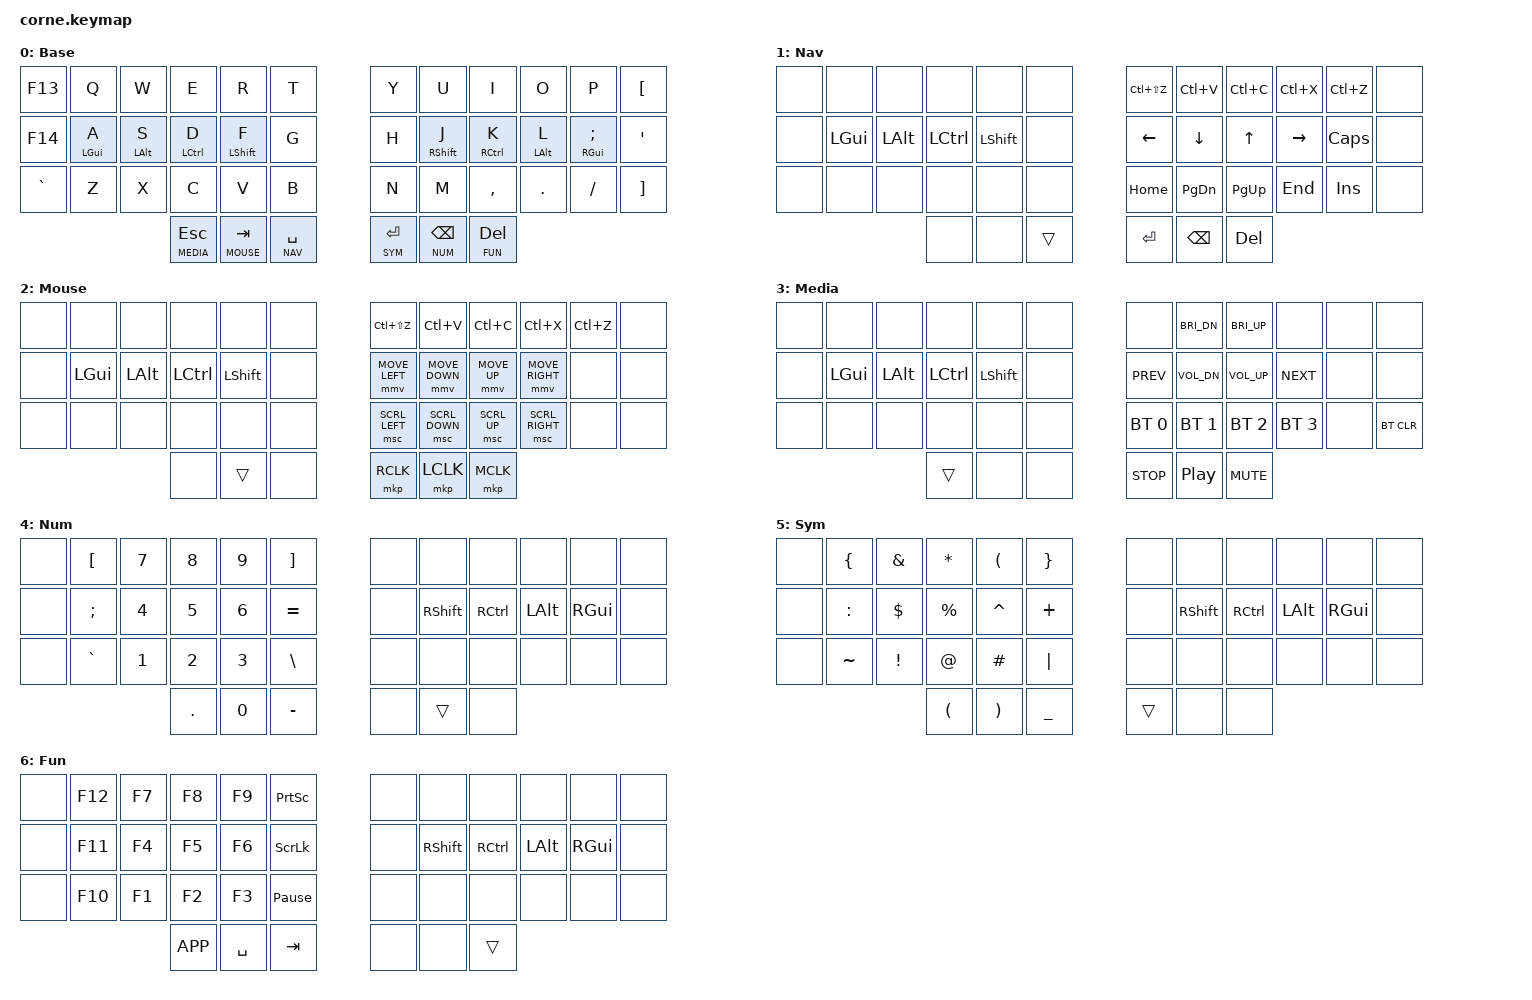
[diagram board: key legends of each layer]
/*
 * Corne 3x6+3. Основа — Miryoku (слой на каждой клавише большого пальца,
 * слой включается одной рукой, работает другая) и timeless HRM от urob.
 * Под себя: внешние колонки под ЙЦУКЕН (Х Э Ъ Ё) и клавиши EN/RU.
 *
 * Позиции:
 *   0  1  2  3  4  5     6  7  8  9 10 11
 *  12 13 14 15 16 17    18 19 20 21 22 23
 *  24 25 26 27 28 29    30 31 32 33 34 35
 *           36 37 38    39 40 41
 */

#include <behaviors.dtsi>
#include <dt-bindings/zmk/bt.h>
#include <dt-bindings/zmk/keys.h>
#include <dt-bindings/zmk/pointing.h>

#define BASE  0
#define NAV   1
#define MOUSE 2
#define MEDIA 3
#define NUM   4
#define SYM   5
#define FUN   6

#define KEYS_L 0 1 2 3 4 5 12 13 14 15 16 17 24 25 26 27 28 29
#define KEYS_R 6 7 8 9 10 11 18 19 20 21 22 23 30 31 32 33 34 35
#define THUMBS 36 37 38 39 40 41

// Переключение языка: niri ловит F13/F14 и делает switch-layout 0/1
#define LANG_EN &kp F13
#define LANG_RU &kp F14

#define U_UNDO &kp LC(Z)
#define U_CUT  &kp LC(X)
#define U_COPY &kp LC(C)
#define U_PSTE &kp LC(V)
#define U_REDO &kp LC(LS(Z))

// Повтор Backspace/Space при удержании: тап, затем удержание
&lt {
    quick-tap-ms = <175>;
};

/ {
    behaviors {
        hml: home_row_mod_left {
            compatible = "zmk,behavior-hold-tap";
            #binding-cells = <2>;
            flavor = "balanced";
            tapping-term-ms = <280>;
            quick-tap-ms = <175>;
            require-prior-idle-ms = <150>;
            bindings = <&kp>, <&kp>;
            hold-trigger-key-positions = <KEYS_R THUMBS>;
            hold-trigger-on-release;
        };

        hmr: home_row_mod_right {
            compatible = "zmk,behavior-hold-tap";
            #binding-cells = <2>;
            flavor = "balanced";
            tapping-term-ms = <280>;
            quick-tap-ms = <175>;
            require-prior-idle-ms = <150>;
            bindings = <&kp>, <&kp>;
            hold-trigger-key-positions = <KEYS_L THUMBS>;
            hold-trigger-on-release;
        };
    };

    combos {
        compatible = "zmk,combos";

        combo_caps_word {
            timeout-ms = <50>;
            key-positions = <16 19>;
            bindings = <&caps_word>;
            layers = <BASE>;
        };
    };

    keymap {
        compatible = "zmk,keymap";

        base {
            display-name = "Base";
            bindings = <
LANG_EN   &kp Q          &kp W          &kp E           &kp R           &kp T        &kp Y  &kp U           &kp I           &kp O          &kp P             &kp LBKT
LANG_RU   &hml LGUI A    &hml LALT S    &hml LCTRL D    &hml LSHFT F    &kp G        &kp H  &hmr RSHFT J    &hmr RCTRL K    &hmr LALT L    &hmr RGUI SEMI    &kp SQT
&kp GRAVE &kp Z          &kp X          &kp C           &kp V           &kp B        &kp N  &kp M           &kp COMMA       &kp DOT        &kp FSLH          &kp RBKT
                         &lt MEDIA ESC  &lt MOUSE TAB   &lt NAV SPACE                &lt SYM RET    &lt NUM BSPC    &lt FUN DEL
            >;
        };

        nav {
            display-name = "Nav";
            bindings = <
&none  &none     &none     &none      &none      &none        U_REDO    U_PSTE      U_COPY      U_CUT     U_UNDO     &none
&none  &kp LGUI  &kp LALT  &kp LCTRL  &kp LSHFT  &none        &kp LEFT  &kp DOWN    &kp UP      &kp RIGHT &kp CAPS   &none
&none  &none     &none     &none      &none      &none        &kp HOME  &kp PG_DN   &kp PG_UP   &kp END   &kp INS    &none
                           &none      &none      &trans       &kp RET   &kp BSPC    &kp DEL
            >;
        };

        mouse {
            display-name = "Mouse";
            bindings = <
&none  &none     &none     &none      &none      &none        U_REDO          U_PSTE          U_COPY          U_CUT            U_UNDO  &none
&none  &kp LGUI  &kp LALT  &kp LCTRL  &kp LSHFT  &none        &mmv MOVE_LEFT  &mmv MOVE_DOWN  &mmv MOVE_UP    &mmv MOVE_RIGHT  &none   &none
&none  &none     &none     &none      &none      &none        &msc SCRL_LEFT  &msc SCRL_DOWN  &msc SCRL_UP    &msc SCRL_RIGHT  &none   &none
                           &none      &trans     &none        &mkp RCLK       &mkp LCLK       &mkp MCLK
            >;
        };

        media {
            display-name = "Media";
            bindings = <
&none  &none     &none     &none      &none      &none        &none         &kp C_BRI_DN  &kp C_BRI_UP  &none         &none         &none
&none  &kp LGUI  &kp LALT  &kp LCTRL  &kp LSHFT  &none        &kp C_PREV    &kp C_VOL_DN  &kp C_VOL_UP  &kp C_NEXT    &none         &none
&none  &none     &none     &none      &none      &none        &bt BT_SEL 0  &bt BT_SEL 1  &bt BT_SEL 2  &bt BT_SEL 3  &none         &bt BT_CLR
                           &trans     &none      &none        &kp C_STOP    &kp C_PP      &kp C_MUTE
            >;
        };

        num {
            display-name = "Num";
            bindings = <
&none  &kp LBKT   &kp N7  &kp N8  &kp N9  &kp RBKT      &none  &none      &none      &none     &none     &none
&none  &kp SEMI   &kp N4  &kp N5  &kp N6  &kp EQUAL     &none  &kp RSHFT  &kp RCTRL  &kp LALT  &kp RGUI  &none
&none  &kp GRAVE  &kp N1  &kp N2  &kp N3  &kp BSLH      &none  &none      &none      &none     &none     &none
                          &kp DOT &kp N0  &kp MINUS     &none  &trans     &none
            >;
        };

        sym {
            display-name = "Sym";
            bindings = <
&none  &kp LBRC   &kp AMPS  &kp ASTRK  &kp LPAR   &kp RBRC      &none  &none      &none      &none     &none     &none
&none  &kp COLON  &kp DLLR  &kp PRCNT  &kp CARET  &kp PLUS      &none  &kp RSHFT  &kp RCTRL  &kp LALT  &kp RGUI  &none
&none  &kp TILDE  &kp EXCL  &kp AT     &kp HASH   &kp PIPE      &none  &none      &none      &none     &none     &none
                            &kp LPAR   &kp RPAR   &kp UNDER     &trans &none      &none
            >;
        };

        fun {
            display-name = "Fun";
            bindings = <
&none  &kp F12  &kp F7  &kp F8  &kp F9     &kp PSCRN        &none  &none      &none      &none     &none     &none
&none  &kp F11  &kp F4  &kp F5  &kp F6     &kp SLCK         &none  &kp RSHFT  &kp RCTRL  &kp LALT  &kp RGUI  &none
&none  &kp F10  &kp F1  &kp F2  &kp F3     &kp PAUSE_BREAK  &none  &none      &none      &none     &none     &none
                        &kp K_APP &kp SPACE &kp TAB         &none  &none      &trans
            >;
        };
    };
};
